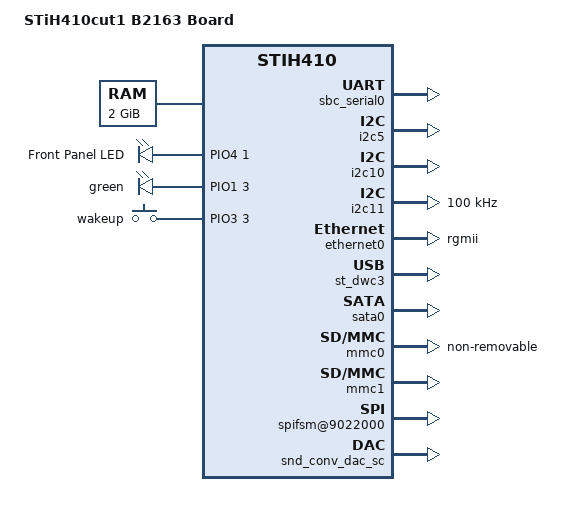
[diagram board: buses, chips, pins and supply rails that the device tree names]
/*
 * Copyright (C) 2014 STMicroelectronics Limited.
 * Author: Amelie Herault <amelie.herault@st.com>
 *
 * This program is free software; you can redistribute it and/or modify
 * it under the terms of the GNU General Public License version 2 as
 * publishhed by the Free Software Foundation.
 */
/dts-v1/;
#include "stih410cut1.dtsi"

/ {
	model = "STiH410cut1 B2163 Board";
	compatible = "st,stih410-b2163", "st,stih410";

	memory {
		device_type = "memory";
		reg = <0x40000000 0x80000000>;
	};

	chosen {
		bootargs = "console=ttyAS0,115200";
		linux,stdout-path = &sbc_serial0;
	};

	aliases {
		ttyAS0 = &sbc_serial0;
		ethernet0 = &ethernet0;
		miphy0 = &miphy28lp_phy0;
		miphy1 = &miphy28lp_phy1;
		miphy2 = &miphy28lp_phy2;
	};

	soc {
		sbc_serial0: serial@9530000 {
			status = "okay";
		};

		leds {
			compatible = "gpio-leds";
			red {
				#gpio-cells = <2>;
				label = "Front Panel LED";
				gpios = <&PIO4 1 0>;
				linux,default-trigger = "heartbeat";
			};
			green {
				#gpio-cells = <2>;
				gpios = <&PIO1 3 0>;
				default-state = "off";
			};
		};

		rc: rc@09518000 {
			status = "okay";
		};

		/* SSC? to Alicante: i2c1 or i2c2? */
		//i2c1: i2c@9841000 {
		i2c2: i2c@9842000 {
			/*
			 * Disabled for now as there is no i2c slave driver
			 * available for stih407 side
			 */
			status = "disabled";
		};

		/* SSC5 to STV6440, NFC, I2C Eeprom */
		i2c5: i2c@9845000 {
			status = "okay";
		};

		/* SSC10 to TDA18288 */
		i2c10: i2c@9540000 {
			status = "okay";
		};

		/* SSC11 to HDMI */
		i2c11: i2c@9541000 {
			status = "okay";
			/* HDMI V1.3a supports Standard mode only */
			clock-frequency = <100000>;
			st,i2c-min-scl-pulse-width-us = <0>;
			st,i2c-min-sda-pulse-width-us = <5>;
		};

		lpm:stm-lpm@9400000 {
			status = "okay";
			gpios = <&PIO3 2>;
			st,lmi-ret-gpio = <&PIO5 2>;
		};

		gpio_keys {
			compatible = "gpio-keys";
			#address-cells = <1>;
			#size-cells = <0>;
			button@1 {
				label = "wakeup";
				linux,code = <41>;
				gpios = <&PIO3 3 0>;
				gpio-key,wakeup;
			};
		};

		ethernet0: dwmac@9630000 {
			st,tx-retime-src = "clkgen";
			status = "okay";
			phy-mode = "rgmii";
			fixed-link = <1 1000 0 0>;
			snps,phy-addr = <0x1>;
		};

		usb3_phy: usb3_phy@0 {
			st,auto-calibration;
		};

		st_dwc3: dwc3@8f94000 {
			status = "okay";
		};

		/* select internal clock for miphy0 (sata) */
		miphy28lp_phy0: miphy28lp@0 {
			st,sata_gen = "gen3";
			/* set tx impedance compensation */
			st,tx-impedance-comp;
			status = "okay";
		};

		sata0: sata@9b20000 {
			status	= "okay";
		};

		mmc0: sdhci@09060000 {
			status = "okay";
			non-removable;
		};

		mmc1: sdhci@09080000 {
			status = "okay";
		};

		spifsm@9022000 {
			status = "okay";
			flash-name = "n25q256";
			partitions = <&b2163_fsm_partitions>;

			b2163_fsm_partitions: partitions-b2163 {
				#address-cells = <1>;
				#size-cells = <1>;
				partition@0 {
					label = "boot";
					/* 20M */
					reg = <0x00000000 0x01400000>;
				};
				partition@1400000 {
					label = "rest";
					/* 12M */
					reg = <0x01400000 0x00c00000>;
				};
			};
		};

		/* Uniperipheral*/
		snd_uni_player0: snd-uni-player@0 {
			status = "okay";
		};

		snd_uni_player1: snd-uni-player@1 {
			status = "okay";
		};

		snd_uni_player2: snd-uni-player@2 {
			status = "okay";
		};

		snd_uni_player3: snd-uni-player@3 {
			status = "okay";
		};

		snd_uni_reader0: snd-uni-reader@0 {
			status = "okay";
		};

		snd_uni_reader1: snd-uni-reader@1 {
			status = "okay";
		};

		snd_conv_dac_sc: snd-conv-dac-sc {
			status = "okay";
		};

		snd_conv_biphase: snd-conv-biphase {
			status = "okay";
		};
	};
};
